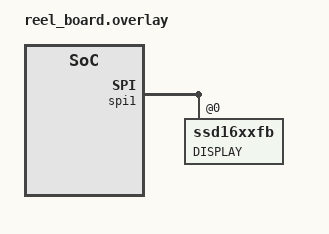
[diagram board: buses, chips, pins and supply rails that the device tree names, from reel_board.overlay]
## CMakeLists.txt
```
cmake_minimum_required(VERSION 3.8.2)
include($ENV{ZEPHYR_BASE}/cmake/app/boilerplate.cmake NO_POLICY_SCOPE)
project(vcd_mesh_badge_de)
FILE(GLOB app_sources src/*.c)
target_sources(app PRIVATE ${app_sources})
```

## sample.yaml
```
sample:
  description: reel board mesh badge sample
  name: vcd_mesh_badge_de
tests:
  test:
    platform_whitelist: reel_board
    tags: samples sensor
    harness: sensor
```

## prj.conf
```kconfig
CONFIG_SYSTEM_WORKQUEUE_STACK_SIZE=4096
CONFIG_BT_RX_STACK_SIZE=4096

CONFIG_BT=y
CONFIG_BT_CTLR=y

CONFIG_BT_DEVICE_NAME_DYNAMIC=y
CONFIG_BT_DEVICE_NAME_GATT_WRITABLE=y
CONFIG_BT_SMP=y
CONFIG_BT_PERIPHERAL=y
CONFIG_BT_PRIVACY=y
CONFIG_BT_DEVICE_NAME="reel-board"
CONFIG_BT_DEVICE_NAME_MAX=40
CONFIG_BT_ATT_ENFORCE_FLOW=n
CONFIG_LINKER_SORT_BY_ALIGNMENT=n

CONFIG_BT_DEBUG_LOG=y
CONFIG_BT_MESH_DEBUG=y
#CONFIG_BT_DEBUG_HCI_CORE=y
#CONFIG_BT_MESH_DEBUG_ADV=y

CONFIG_BT_OBSERVER=y
CONFIG_BT_BROADCASTER=y
CONFIG_BT_L2CAP_TX_BUF_COUNT=8

CONFIG_BT_MESH=y
CONFIG_BT_MESH_RELAY=y
#CONFIG_BT_MESH_GATT_PROXY=y
CONFIG_BT_MESH_PB_ADV=n
CONFIG_BT_MESH_PB_GATT=n
CONFIG_BT_MESH_ADV_BUF_COUNT=30
CONFIG_BT_MESH_LABEL_COUNT=0
CONFIG_BT_MESH_CFG_CLI=y
CONFIG_BT_MESH_TX_SEG_MAX=6
CONFIG_BT_MESH_TX_SEG_MSG_COUNT=3
CONFIG_BT_MESH_RX_SEG_MSG_COUNT=3
CONFIG_BT_MESH_CRPL=128
CONFIG_BT_MESH_RPL_STORE_TIMEOUT=120
CONFIG_BT_MESH_MSG_CACHE_SIZE=30

CONFIG_PRINTK=y
CONFIG_SERIAL=y
CONFIG_CONSOLE=y
CONFIG_STDOUT_CONSOLE=y
CONFIG_PWM=y
CONFIG_PWM_LOG_LEVEL_DBG=y

CONFIG_I2C=y
CONFIG_GPIO=y
CONFIG_SENSOR=y

CONFIG_APDS9960=y

CONFIG_TI_HDC=y

CONFIG_FXOS8700=y
CONFIG_FXOS8700_MODE_ACCEL=y
CONFIG_FXOS8700_TRIGGER_OWN_THREAD=y
CONFIG_FXOS8700_MOTION=y

CONFIG_SPI=y
CONFIG_SPI_ASYNC=y

CONFIG_HEAP_MEM_POOL_SIZE=16384
CONFIG_DISPLAY=y
CONFIG_SSD16XX=y

CONFIG_CHARACTER_FRAMEBUFFER=y

CONFIG_BT_SETTINGS=y
CONFIG_FLASH=y
CONFIG_FLASH_PAGE_LAYOUT=y
CONFIG_FLASH_MAP=y
CONFIG_NVS=y
CONFIG_SETTINGS=y

CONFIG_DISPLAY_LOG_LEVEL_ERR=n
CONFIG_LVGL=y
CONFIG_LVGL_OBJ_LABEL=y
CONFIG_LVGL_OBJ_IMAGE=y
CONFIG_LVGL_OBJ_CANVAS=y
CONFIG_LVGL_ANTIALIAS=y

CONFIG_LVGL_IMG_CACHE_DEF_SIZE=1

CONFIG_LVGL_BUILD_IN_FONT_ROBOTO_28=y
CONFIG_LVGL_BUILD_IN_FONT_ROBOTO_16=y

CONFIG_LVGL_COLOR_DEPTH_1=y
CONFIG_LVGL_BITS_PER_PIXEL=1
CONFIG_LVGL_HOR_RES=250
CONFIG_LVGL_VER_RES=122
CONFIG_LVGL_DPI=130
CONFIG_LVGL_VDB_SIZE=100
```

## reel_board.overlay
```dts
/*
 * Copyright (c) 2018 Phytec Messtechnik GmbH
 *
 * SPDX-License-Identifier: Apache-2.0
 */

&spi1 {
	ssd16xxfb@0 {
		label = "DISPLAY";
	};
};
```

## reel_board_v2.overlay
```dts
/*
 * Copyright (c) 2018 Phytec Messtechnik GmbH
 *
 * SPDX-License-Identifier: Apache-2.0
 */

&spi1 {
	ssd16xxfb@0 {
		label = "DISPLAY";
	};
};
```

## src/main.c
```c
/*
 * Copyright (c) 2018 Intel Corporation
 *
 * SPDX-License-Identifier: Apache-2.0
 *
 * Änderung: Deutsche Texte auf ePapier: JK LUG Noris 01/2019
 */

#include <zephyr.h>
#include <zephyr/types.h>
#include <sys/printk.h>
#include <device.h>

#include <string.h>
#include <stddef.h>
#include <sys/util.h>
#include <stdio.h>

#include <drivers/display.h>
#include <display/cfb.h>
#include <lvgl.h>
#include "qrcodegen.h"

#include <settings/settings.h>

#include <bluetooth/bluetooth.h>
#include <bluetooth/gatt.h>
#include <drivers/sensor.h>
#include <drivers/pwm.h>

#include "mesh.h"
#include "board.h"

static const struct bt_data ad[] = {
	BT_DATA_BYTES(BT_DATA_FLAGS, BT_LE_AD_NO_BREDR),
};

static ssize_t read_name(struct bt_conn *conn, const struct bt_gatt_attr *attr,
			 void *buf, u16_t len, u16_t offset)
{
	const char *value = bt_get_name();

	return bt_gatt_attr_read(conn, attr, buf, len, offset, value,
				 strlen(value));
}

static ssize_t write_name(struct bt_conn *conn, const struct bt_gatt_attr *attr,
			  const void *buf, u16_t len, u16_t offset,
			  u8_t flags)
{
	char name[CONFIG_BT_DEVICE_NAME_MAX];
	char buf1[CONFIG_BT_DEVICE_NAME_MAX];

	int Umlaut = 0xc3;
	int i1, t1, s1;  i1=0; t1=0; s1=0;

	int err;

	if (offset) {
		return BT_GATT_ERR(BT_ATT_ERR_INVALID_OFFSET);
	}

	if (len >= CONFIG_BT_DEVICE_NAME_MAX) {
		return BT_GATT_ERR(BT_ATT_ERR_INVALID_ATTRIBUTE_LEN);
	}

	memcpy(name, buf, len);
	name[len] = '\0';

	/* Umwandlung UTF-8 nach ASCII */
	strncpy(buf1, name, sizeof(buf1) - 1);
	buf1[sizeof(buf1) - 1] = '\0';
	for (i1 = 0; buf1[i1] != '\0'; i1++) {
		if (buf1[i1] == Umlaut) {
			buf1[i1] = buf1[i1 + 1] + 0x40;
			s1 = i1 + 1;
			/* Shift links um 1 Byte */
			for (t1 = s1; buf1[t1] != '\0'; t1++) {
				buf1[t1] = buf1[t1 + 1];
			}
		}
	}

	err = bt_set_name(buf1);

	if (err) {
		return BT_GATT_ERR(BT_ATT_ERR_INSUFFICIENT_RESOURCES);
	}

	board_refresh_display();

	return len;
}

/*
static struct bt_uuid_128 name_uuid = BT_UUID_INIT_128(
	0xf0, 0xde, 0xbc, 0x9a, 0x78, 0x56, 0x34, 0x12,
	0x78, 0x56, 0x34, 0x12, 0x78, 0x56, 0x34, 0x12);

static struct bt_uuid_128 name_enc_uuid = BT_UUID_INIT_128(
	0xf1, 0xde, 0xbc, 0x9a, 0x78, 0x56, 0x34, 0x12,
	0x78, 0x56, 0x34, 0x12, 0x78, 0x56, 0x34, 0x12);
*/

static struct bt_uuid_128 name_uuid = BT_UUID_INIT_128(
	BT_UUID_128_ENCODE(0x12345678, 0x1234, 0x5678, 0x1234, 0x56789abcdef0));

static struct bt_uuid_128 name_enc_uuid = BT_UUID_INIT_128(
	BT_UUID_128_ENCODE(0x12345678, 0x1234, 0x5678, 0x1234, 0x56789abcdef1));


#define CPF_FORMAT_UTF8 0x19

static const struct bt_gatt_cpf name_cpf = {
	.format = CPF_FORMAT_UTF8,
};

/* Vendor Primary Service Declaration */
BT_GATT_SERVICE_DEFINE(name_svc,
	/* Vendor Primary Service Declaration */
	BT_GATT_PRIMARY_SERVICE(&name_uuid),
	BT_GATT_CHARACTERISTIC(&name_enc_uuid.uuid,
			       BT_GATT_CHRC_READ | BT_GATT_CHRC_WRITE,
			       BT_GATT_PERM_READ | BT_GATT_PERM_WRITE_ENCRYPT,
			       read_name, write_name, NULL),
	BT_GATT_CUD("Badge Name", BT_GATT_PERM_READ),
	BT_GATT_CPF(&name_cpf),
);

static void passkey_display(struct bt_conn *conn, unsigned int passkey)
{
	char buf[20];

	snprintk(buf, sizeof(buf), "Passkey:\n%06u", passkey);

	printk("%s\n", buf);
	board_show_text(buf, false, K_FOREVER);
}

static void passkey_cancel(struct bt_conn *conn)
{
	printk("Abbruch\n");
}

static void pairing_complete(struct bt_conn *conn, bool bonded)
{
	printk("Pairing Komplett\n");

	sound_activ(1000);

	board_show_text("Pairing Komplett", false, K_SECONDS(2));
}

static void pairing_failed(struct bt_conn *conn, enum bt_security_err reason)
{
	printk("Pairing Fehler (%d)\n", reason);
	sound_activ(2000); sound_activ(2000);
	board_show_text("Pairing Fehler", false, K_SECONDS(2));
}

const struct bt_conn_auth_cb auth_cb = {
	.passkey_display = passkey_display,
	.cancel = passkey_cancel,
	.pairing_complete = pairing_complete,
	.pairing_failed = pairing_failed,
};

static void connected(struct bt_conn *conn, u8_t err)
{
	printk("Verbindung (err 0x%02x)\n", err);

	if (err) {
		sound_activ(2000); sound_activ(2000);
		board_show_text("Verbindungsfehler", false, K_SECONDS(2));
	} else {
		sound_activ(1000);
		board_show_text("Verbunden", false, K_FOREVER);
	}
}

static void disconnected(struct bt_conn *conn, u8_t reason)
{
	printk("Getrennt (Grund 0x%02x)\n", reason);

	if (strcmp(CONFIG_BT_DEVICE_NAME, bt_get_name()) &&
	    !mesh_is_initialized()) {
		/* Mesh will take over advertising control */
		bt_le_adv_stop();
		mesh_start();
	} else {
		board_show_text("Getrennt", false, K_SECONDS(2));
	}
}

static struct bt_conn_cb conn_cb = {
	.connected = connected,
	.disconnected = disconnected,
};

static void bt_ready(int err)
{
	if (err) {
		printk("Bluetooth Init Fehler (err %d)\n", err);
		return;
	}

	printk("Bluetooth initialisiert\n");


	err = mesh_init();
	if (err) {
		printk("Mesh Initialisierungsfehler (err %d)\n", err);
		return;
	}

	printk("Mesh initialisiert\n");

	bt_conn_cb_register(&conn_cb);
	bt_conn_auth_cb_register(&auth_cb);

	if (IS_ENABLED(CONFIG_SETTINGS)) {
		settings_load();
	}


	if (!mesh_is_initialized()) {
		/* Start advertising */
		err = bt_le_adv_start(BT_LE_ADV_CONN_NAME,
				      ad, ARRAY_SIZE(ad), NULL, 0);
		if (err) {
			printk("Advertising Startfehler (err %d)\n", err);
			return;
		}
	} else {
		printk("Ist schon aktiv\n");
	}

	board_refresh_display();

	printk("Board gestartet\n");
}

void main(void)
{
	int err;

	err = board_init();
	if (err) {
		printk("Board Init Fehler (err %d)\n", err);
		return;
	}

	printk("Start Board Demo\n");

	/* Initialize the Bluetooth Subsystem */
	err = bt_enable(bt_ready);
	if (err) {
		printk("Bluetooth Init Fehler (err %d)\n", err);
		return;
	}

	err = periphs_init();
	if (err) {
		printk("Perpherie Initialisierungsfehler (err %d)\n", err);
		return;
	}
}
```

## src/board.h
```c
/*
 * Copyright (c) 2018 Phytec Messtechnik GmbH
 * Copyright (c) 2018 Intel Corporation
 *
 * SPDX-License-Identifier: Apache-2.0
 */

enum led_periph_device {
	DEV_IDX_LED0 = 0,
	DEV_IDX_LED1,
	DEV_IDX_LED2,
};

enum periph_device {
	DEV_IDX_BUTTON = 0,
	DEV_IDX_HDC1010,
	DEV_IDX_MMA8652,
	DEV_IDX_APDS9960,
	DEV_IDX_EPD,
	DEV_IDX_NUMOF,
};

void board_refresh_display(void);
void board_show_text(const char *text, bool center, s32_t duration);
void board_blink_leds(void);
void board_add_hello(u16_t addr, const char *name);
void board_add_heartbeat(u16_t addr, u8_t hops);
void vcd_epaper(const char* vcdName, const char* vcdProf, const bool scr_new);
void vcd_epaper_tux(const char* vcdName, const bool scr_new);
void sound_activ();
int get_hdc1010_val(struct sensor_value *val);
int get_mma8652_val(struct sensor_value *val);
int get_apds9960_val(struct sensor_value *val);
int set_led_state(u8_t id, bool state);
int periphs_init(void);
int board_init(void);
```

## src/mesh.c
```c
/*
 * Copyright (c) 2018 Intel Corporation
 *
 * SPDX-License-Identifier: Apache-2.0
 *
 * Aenderung: Deutsche ePapier-Texte und Anzeige des eigenen Namens bei Betaetigen des User-Knopfes: JK LUG-Noris 01/2019
 */

#include <zephyr.h>
#include <string.h>
#include <sys/printk.h>

#include <bluetooth/bluetooth.h>
#include <bluetooth/mesh.h>
#include <bluetooth/hci.h>

#include <drivers/sensor.h>
//#include <display/cfb.h>
#include <stdio.h>

#include "mesh.h"
#include "board.h"

#define MOD_LF            0x0000
#define OP_HELLO          0xbb
#define OP_HEARTBEAT      0xbc
#define OP_BADUSER        0xbd
#define OP_VND_HELLO      BT_MESH_MODEL_OP_3(OP_HELLO, BT_COMP_ID_LF)
#define OP_VND_HEARTBEAT  BT_MESH_MODEL_OP_3(OP_HEARTBEAT, BT_COMP_ID_LF)
#define OP_VND_BADUSER    BT_MESH_MODEL_OP_3(OP_BADUSER, BT_COMP_ID_LF)

#define IV_INDEX          0
#define DEFAULT_TTL       31
#define GROUP_ADDR        0xc123
#define NET_IDX           0x000
#define APP_IDX           0x000
#define FLAGS             0

/* Maximum characters in "hello" message */
#define HELLO_MAX         8

#define MAX_SENS_STATUS_LEN 8

#define SENS_PROP_ID_TEMP_CELSIUS 0x2A1F
#define SENS_PROP_ID_UNIT_TEMP_CELSIUS 0x272F
#define SENS_PROP_ID_TEMP_CELSIUS_SIZE 2

enum {
	SENSOR_HDR_A = 0,
	SENSOR_HDR_B = 1,
};

struct sensor_hdr_a {
	u16_t prop_id:11;
	u16_t length:4;
	u16_t format:1;
} __packed;

struct sensor_hdr_b {
	u8_t length:7;
	u8_t format:1;
	u16_t prop_id;
} __packed;

static struct k_work hello_work;
static struct k_work baduser_work;
static struct k_work mesh_start_work;

char buf_local[CONFIG_BT_DEVICE_NAME_MAX];
int buf_len;


/* Definitions of models user data (Start) */
static struct led_onoff_state led_onoff_state[] = {
	{ .dev_id = DEV_IDX_LED0 },
};

static void heartbeat(u8_t hops, u16_t feat)
{
	board_show_text("Herzschlag empfangen", false, K_SECONDS(2));
}

static struct bt_mesh_cfg_srv cfg_srv = {
	.relay = BT_MESH_RELAY_ENABLED,
	.beacon = BT_MESH_BEACON_DISABLED,
	.default_ttl = DEFAULT_TTL,

	/* 3 transmissions with 20ms interval */
	.net_transmit = BT_MESH_TRANSMIT(2, 20),
	.relay_retransmit = BT_MESH_TRANSMIT(3, 20),

	.hb_sub.func = heartbeat,
};

static struct bt_mesh_cfg_cli cfg_cli = {
};

static void attention_on(struct bt_mesh_model *model)
{
	board_show_text("Achtung!", false, K_SECONDS(2));
}

static void attention_off(struct bt_mesh_model *model)
{
	board_refresh_display();
}

static const struct bt_mesh_health_srv_cb health_srv_cb = {
	.attn_on = attention_on,
	.attn_off = attention_off,
};

static struct bt_mesh_health_srv health_srv = {
	.cb = &health_srv_cb,
};

/* Generic OnOff Server message handlers */
static void gen_onoff_get(struct bt_mesh_model *model,
			  struct bt_mesh_msg_ctx *ctx,
			  struct net_buf_simple *buf)
{
	NET_BUF_SIMPLE_DEFINE(msg, 2 + 1 + 4);
	struct led_onoff_state *state = model->user_data;

	printk("addr 0x%04x onoff 0x%02x\n",
	       bt_mesh_model_elem(model)->addr, state->current);
	bt_mesh_model_msg_init(&msg, BT_MESH_MODEL_OP_GEN_ONOFF_STATUS);
	net_buf_simple_add_u8(&msg, state->current);

	if (bt_mesh_model_send(model, ctx, &msg, NULL, NULL)) {
		printk("Unable to send On Off Status response\n");
	}
}

static void gen_onoff_set_unack(struct bt_mesh_model *model,
				struct bt_mesh_msg_ctx *ctx,
				struct net_buf_simple *buf)
{
	struct net_buf_simple *msg = model->pub->msg;
	struct led_onoff_state *state = model->user_data;
	int err;
	u8_t tid, onoff;
	s64_t now;

	onoff = net_buf_simple_pull_u8(buf);
	tid = net_buf_simple_pull_u8(buf);

	if (onoff > STATE_ON) {
		printk("Wrong state received\n");

		return;
	}

	now = k_uptime_get();
	if (state->last_tid == tid && state->last_tx_addr == ctx->addr &&
	    (now - state->last_msg_timestamp <= K_SECONDS(6))) {
		printk("Already received message\n");
	}

	state->current = onoff;
	state->last_tid = tid;
	state->last_tx_addr = ctx->addr;
	state->last_msg_timestamp = now;

	printk("addr 0x%02x state 0x%02x\n",
	       bt_mesh_model_elem(model)->addr, state->current);

	/* Pin set low turns on LED's on the reel board */
	if (set_led_state(state->dev_id, onoff)) {
		printk("Failed to set led state\n");

		return;
	}

	/*
	 * If a server has a publish address, it is required to
	 * publish status on a state change
	 *
	 * See Mesh Profile Specification 3.7.6.1.2
	 *
	 * Only publish if there is an assigned address
	 */

	if (state->previous != state->current &&
	    model->pub->addr != BT_MESH_ADDR_UNASSIGNED) {
		printk("publish last 0x%02x cur 0x%02x\n",
		       state->previous, state->current);
		state->previous = state->current;
		bt_mesh_model_msg_init(msg,
				       BT_MESH_MODEL_OP_GEN_ONOFF_STATUS);
		net_buf_simple_add_u8(msg, state->current);
		err = bt_mesh_model_publish(model);
		if (err) {
			printk("bt_mesh_model_publish err %d\n", err);
		}
	}
}

static void gen_onoff_set(struct bt_mesh_model *model,
			  struct bt_mesh_msg_ctx *ctx,
			  struct net_buf_simple *buf)
{
	gen_onoff_set_unack(model, ctx, buf);
	gen_onoff_get(model, ctx, buf);
}

static void sensor_desc_get(struct bt_mesh_model *model,
			    struct bt_mesh_msg_ctx *ctx,
			    struct net_buf_simple *buf)
{
	/* TODO */
}

static void sens_temperature_celsius_fill(struct net_buf_simple *msg)
{
	struct sensor_hdr_b hdr;
	/* TODO Get only temperature from sensor */
	struct sensor_value val[2];
	s16_t temp_degrees;

	hdr.format = SENSOR_HDR_B;
	hdr.length = sizeof(temp_degrees);
	hdr.prop_id = SENS_PROP_ID_UNIT_TEMP_CELSIUS;

	get_hdc1010_val(val);
	temp_degrees = sensor_value_to_double(&val[0]) * 100;

	net_buf_simple_add_mem(msg, &hdr, sizeof(hdr));
	net_buf_simple_add_le16(msg, temp_degrees);
}

static void sens_unknown_fill(u16_t id, struct net_buf_simple *msg)
{
	struct sensor_hdr_a hdr;

	/*
	 * When the message is a response to a Sensor Get message that
	 * identifies a sensor property that does not exist on the element, the
	 * Length field shall represent the value of zero and the Raw Value for
	 * that property shall be omitted. (Mesh model spec 1.0, 4.2.14)
	 */
	hdr.format = SENSOR_HDR_A;
	hdr.length = 0U;
	hdr.prop_id = id;

	net_buf_simple_add_mem(msg, &hdr, sizeof(hdr));
}

static void sensor_create_status(u16_t id, struct net_buf_simple *msg)
{
	bt_mesh_model_msg_init(msg, BT_MESH_MODEL_OP_SENS_STATUS);

	switch (id) {
	case SENS_PROP_ID_TEMP_CELSIUS:
		sens_temperature_celsius_fill(msg);
		break;
	default:
		sens_unknown_fill(id, msg);
		break;
	}
}

static void sensor_get(struct bt_mesh_model *model,
		       struct bt_mesh_msg_ctx *ctx,
		       struct net_buf_simple *buf)
{
	NET_BUF_SIMPLE_DEFINE(msg, 1 + MAX_SENS_STATUS_LEN + 4);
	u16_t sensor_id;

	sensor_id = net_buf_simple_pull_le16(buf);
	sensor_create_status(sensor_id, &msg);

	if (bt_mesh_model_send(model, ctx, &msg, NULL, NULL)) {
		printk("Unable to send Sensor get status response\n");
	}
}

static void sensor_col_get(struct bt_mesh_model *model,
			   struct bt_mesh_msg_ctx *ctx,
			   struct net_buf_simple *buf)
{
	/* TODO */
}

static void sensor_series_get(struct bt_mesh_model *model,
			      struct bt_mesh_msg_ctx *ctx,
			      struct net_buf_simple *buf)
{
	/* TODO */
}

/* Definitions of models publication context (Start) */
BT_MESH_HEALTH_PUB_DEFINE(health_pub, 0);
BT_MESH_MODEL_PUB_DEFINE(gen_onoff_srv_pub_root, NULL, 2 + 3);

/* Mapping of message handlers for Generic OnOff Server (0x1000) */
static const struct bt_mesh_model_op gen_onoff_srv_op[] = {
	{ BT_MESH_MODEL_OP_GEN_ONOFF_GET, 0, gen_onoff_get },
	{ BT_MESH_MODEL_OP_GEN_ONOFF_SET, 2, gen_onoff_set },
	{ BT_MESH_MODEL_OP_GEN_ONOFF_SET_UNACK, 2, gen_onoff_set_unack },
	BT_MESH_MODEL_OP_END,
};

/* Mapping of message handlers for Sensor Server (0x1100) */
static const struct bt_mesh_model_op sensor_srv_op[] = {
	{ BT_MESH_MODEL_OP_SENS_DESC_GET, 0, sensor_desc_get },
	{ BT_MESH_MODEL_OP_SENS_GET, 0, sensor_get },
	{ BT_MESH_MODEL_OP_SENS_COL_GET, 2, sensor_col_get },
	{ BT_MESH_MODEL_OP_SENS_SERIES_GET, 2, sensor_series_get },
};

static struct bt_mesh_model root_models[] = {
	BT_MESH_MODEL_CFG_SRV(&cfg_srv),
	BT_MESH_MODEL_CFG_CLI(&cfg_cli),
	BT_MESH_MODEL_HEALTH_SRV(&health_srv, &health_pub),
	BT_MESH_MODEL(BT_MESH_MODEL_ID_GEN_ONOFF_SRV,
		      gen_onoff_srv_op, &gen_onoff_srv_pub_root,
		      &led_onoff_state[0]),
	BT_MESH_MODEL(BT_MESH_MODEL_ID_SENSOR_SRV,
		      sensor_srv_op, NULL, NULL),
};

static void vnd_hello(struct bt_mesh_model *model,
		      struct bt_mesh_msg_ctx *ctx,
		      struct net_buf_simple *buf)
{
	char str[32];
	size_t len;

	printk("Hello message from 0x%04x\n", ctx->addr);

	if (ctx->addr == bt_mesh_model_elem(model)->addr) {
		printk("Ignoring message from self\n");
		return;
	}

	len = MIN(buf->len, HELLO_MAX);
	memcpy(str, buf->data, len);
	str[len] = '\0';

	board_add_hello(ctx->addr, str);

	strcat(str, " sagt Hallo!");

	sound_activ(1000);

	board_show_text(str, false, K_SECONDS(2));

	board_blink_leds();
}

static void vnd_baduser(struct bt_mesh_model *model,
			struct bt_mesh_msg_ctx *ctx,
			struct net_buf_simple *buf)
{
	char str[32];
	size_t len;

	printk("\"Bad user\" message from 0x%04x\n", ctx->addr);

	if (ctx->addr == bt_mesh_model_elem(model)->addr) {
		printk("Ignoring message from self\n");
		return;
	}

	len = MIN(buf->len, HELLO_MAX);
	memcpy(str, buf->data, len);
	str[len] = '\0';

	board_add_hello(ctx->addr, str);

	strcat(str, " provoziert Fehlfunktion");
	board_show_text(str, false, K_SECONDS(3));

	board_blink_leds();
}

static void vnd_heartbeat(struct bt_mesh_model *model,
			  struct bt_mesh_msg_ctx *ctx,
			  struct net_buf_simple *buf)
{
	u8_t init_ttl, hops;

	/* Ignore messages from self */
	if (ctx->addr == bt_mesh_model_elem(model)->addr) {
		return;
	}

	init_ttl = net_buf_simple_pull_u8(buf);
	hops = init_ttl - ctx->recv_ttl + 1;

	printk("Heartbeat from 0x%04x over %u hop%s\n", ctx->addr,
	       hops, hops == 1U ? "" : "s");

	board_add_heartbeat(ctx->addr, hops);
}

static const struct bt_mesh_model_op vnd_ops[] = {
	{ OP_VND_HELLO, 1, vnd_hello },
	{ OP_VND_HEARTBEAT, 1, vnd_heartbeat },
	{ OP_VND_BADUSER, 1, vnd_baduser },
	BT_MESH_MODEL_OP_END,
};

static int pub_update(struct bt_mesh_model *mod)
{
	struct net_buf_simple *msg = mod->pub->msg;

	printk("Preparing to send heartbeat\n");

	bt_mesh_model_msg_init(msg, OP_VND_HEARTBEAT);
	net_buf_simple_add_u8(msg, DEFAULT_TTL);

	return 0;
}

BT_MESH_MODEL_PUB_DEFINE(vnd_pub, pub_update, 3 + 1);

static struct bt_mesh_model vnd_models[] = {
	BT_MESH_MODEL_VND(BT_COMP_ID_LF, MOD_LF, vnd_ops, &vnd_pub, NULL),
};

static struct bt_mesh_elem elements[] = {
	BT_MESH_ELEM(0, root_models, vnd_models),
};

static const struct bt_mesh_comp comp = {
	.cid = BT_COMP_ID_LF,
	.elem = elements,
	.elem_count = ARRAY_SIZE(elements),
};

static size_t first_name_len(const char *name)
{
	size_t len;

	for (len = 0; *name; name++, len++) {
		switch (*name) {
		case ' ':
		case ',':
		case '\n':
			return len;
		}
	}

	return len;
}

static void buf_shift_right(char *buf_local, int buf_len, int i, int Laufindex)
{
int t,y;
	y = 0;
	t = i;
	while ((buf_len+Laufindex+y-1) != t) {
		buf_local[buf_len+Laufindex+y] = buf_local[buf_len+Laufindex+y-1];
		y--;
	}
}

static void send_hello(struct k_work *work)
{
	NET_BUF_SIMPLE_DEFINE(msg, 3 + HELLO_MAX + 4);
	struct bt_mesh_msg_ctx ctx = {
		.net_idx = NET_IDX,
		.app_idx = APP_IDX,
		.addr = GROUP_ADDR,
		.send_ttl = DEFAULT_TTL,
	};

        char vname_local[CONFIG_BT_DEVICE_NAME_MAX-1]=" ";

	int i;

	strncpy(buf_local, bt_get_name(), sizeof(buf_local) - 1);
	buf_local[sizeof(buf_local) - 1] = '\0';
	buf_len = sizeof(buf_local);

	/* Ersetzung von Umlauten auf ae, ue, oe, ß etc. Original Display kennt keine Umlaute! */
	for (i = 0; buf_local[i] != ' '; i++) {

		int Laufindex = 1;

		switch (buf_local[i]) {
		case '\0':
			return;

		case 0xe4:  /* ä */
			buf_shift_right(buf_local, buf_len, i, Laufindex);
			buf_local[i] = 0x61; buf_local[i+1] = 0x65;
			Laufindex++;
			continue;

		case 0xfc:  /* ü */
			buf_shift_right(buf_local, buf_len, i, Laufindex);
			buf_local[i] = 0x75; buf_local[i+1] = 0x65;
			Laufindex++;
//			printf("Laufindex %d \n",Laufindex);
			continue;

		case 0xf6:  /* ö */
			buf_shift_right(buf_local, buf_len, i, Laufindex);
			buf_local[i] = 0x6f; buf_local[i+1] = 0x65;
			Laufindex++;
			continue;

		case 0xc4:  /* Ä */
			buf_shift_right(buf_local, buf_len, i, Laufindex);
			buf_local[i] = 0x41; buf_local[i+1] = 0x45;
			Laufindex++;
			continue;

		case 0xdc:  /* Ü */
			buf_shift_right(buf_local, buf_len, i, Laufindex);
			buf_local[i] = 0x55; buf_local[i+1] = 0x45;
			Laufindex++;
			continue;

		case 0xd6:  /* Ö */
			buf_shift_right(buf_local, buf_len, i, Laufindex);
			buf_local[i] = 0x4f; buf_local[i+1] = 0x45;
			Laufindex++;
			continue;

		case 0xdf:  /* ß */
			buf_shift_right(buf_local, buf_len, i, Laufindex);
			buf_local[i] = 0x73; buf_local[i+1] = 0x73;
			Laufindex++;
			continue;

		default:
			continue;
		}
        }

	/* sonstige nicht darstellbare Zeichen entfernen */
	for (i = 0; buf_local[i] != ' '; i++) {
		if ((buf_local[i] < 0x20) || (buf_local[i] >0x7a)) {
			buf_local[i] = ' ';
		}
        }
        /* buf_len an nun aktueller Länge anpassen */
        buf_len = i;

	bt_mesh_model_msg_init(&msg, OP_VND_HELLO);

	net_buf_simple_add_mem(&msg, buf_local,
			       MIN(HELLO_MAX, buf_len));
        strncpy(vname_local, buf_local, first_name_len(buf_local));

        strcat(vname_local, " sagt \"Hallo\" zu Jedem!");

	if (bt_mesh_model_send(&vnd_models[0], &ctx, &msg, NULL, NULL) == 0) {
		sound_activ(1000);
		board_show_text(vname_local, false, K_SECONDS(2));
	} else {
		sound_activ(2000); sound_activ(2000);
		board_show_text("Ueber- tragungs Fehler!", false, K_SECONDS(2));
	}

}

void mesh_send_hello(void)
{
	k_work_submit(&hello_work);
}

static void send_baduser(struct k_work *work)
{
	NET_BUF_SIMPLE_DEFINE(msg, 3 + HELLO_MAX + 4);
	struct bt_mesh_msg_ctx ctx = {
		.net_idx = NET_IDX,
		.app_idx = APP_IDX,
		.addr = GROUP_ADDR,
		.send_ttl = DEFAULT_TTL,
	};

	bt_mesh_model_msg_init(&msg, OP_VND_BADUSER);

	net_buf_simple_add_mem(&msg, buf_local,
			       MIN(HELLO_MAX, buf_len));
	if (bt_mesh_model_send(&vnd_models[0], &ctx, &msg, NULL, NULL) == 0) {
		board_show_text("Schlechter  Nutzer!", false, K_SECONDS(2));
	} else {
		board_show_text("Ueber- tragungs Fehler!", false, K_SECONDS(2));
	}
}

void mesh_send_baduser(void)
{
	k_work_submit(&baduser_work);
}

static int provision_and_configure(void)
{
	static const u8_t net_key[16] = {
		0xcc, 0xcc, 0xcc, 0xcc, 0xcc, 0xcc, 0xcc, 0xcc,
		0xcc, 0xcc, 0xcc, 0xcc, 0xcc, 0xcc, 0xcc, 0xcc,
	};
	static const u8_t app_key[16] = {
		0xaa, 0xaa, 0xaa, 0xaa, 0xaa, 0xaa, 0xaa, 0xaa,
		0xaa, 0xaa, 0xaa, 0xaa, 0xaa, 0xaa, 0xaa, 0xaa,
	};

	struct bt_mesh_cfg_mod_pub pub = {
		.addr = GROUP_ADDR,
		.app_idx = APP_IDX,
		.ttl = DEFAULT_TTL,
		.period = BT_MESH_PUB_PERIOD_SEC(10),
	};
	u8_t dev_key[16];
	u16_t addr;
	int err;

	err = bt_rand(dev_key, sizeof(dev_key));
	if (err) {
		return err;
	}

	do {
		err = bt_rand(&addr, sizeof(addr));
		if (err) {
			return err;
		}
	} while (!addr);

	/* Make sure it's a unicast address (highest bit unset) */
	addr &= ~0x8000;

	err = bt_mesh_provision(net_key, NET_IDX, FLAGS, IV_INDEX, addr,
				dev_key);
	if (err) {
		return err;
	}

	printk("Configuring...\n");

	/* Add Application Key */
	bt_mesh_cfg_app_key_add(NET_IDX, addr, NET_IDX, APP_IDX, app_key, NULL);

	/* Bind to vendor model */
	bt_mesh_cfg_mod_app_bind_vnd(NET_IDX, addr, addr, APP_IDX,
				     MOD_LF, BT_COMP_ID_LF, NULL);

	bt_mesh_cfg_mod_app_bind(NET_IDX, addr, addr, APP_IDX,
				 BT_MESH_MODEL_ID_GEN_ONOFF_SRV, NULL);

	bt_mesh_cfg_mod_app_bind(NET_IDX, addr, addr, APP_IDX,
				 BT_MESH_MODEL_ID_SENSOR_SRV, NULL);

	/* Bind to Health model */
	bt_mesh_cfg_mod_app_bind(NET_IDX, addr, addr, APP_IDX,
				 BT_MESH_MODEL_ID_HEALTH_SRV, NULL);

	/* Add model subscription */
	bt_mesh_cfg_mod_sub_add_vnd(NET_IDX, addr, addr, GROUP_ADDR,
				    MOD_LF, BT_COMP_ID_LF, NULL);

	bt_mesh_cfg_mod_pub_set_vnd(NET_IDX, addr, addr, MOD_LF, BT_COMP_ID_LF,
				    &pub, NULL);

	printk("Konfiguration komplett\n");

	return addr;
}

static void start_mesh(struct k_work *work)
{
	int err;

	err = provision_and_configure();
	if (err < 0) {
		board_show_text("Mesh Start Fehler", false,
				K_SECONDS(2));
	} else {
		char buf[32];

		snprintk(buf, sizeof(buf),
			 "Mesh gestartet\nAddr: 0x%04x", err);
		sound_activ(1000);
		board_show_text(buf, false, K_SECONDS(1));
	}
}

void mesh_start(void)
{
	k_work_submit(&mesh_start_work);
}

bool mesh_is_initialized(void)
{
	return elements[0].addr != BT_MESH_ADDR_UNASSIGNED;
}

u16_t mesh_get_addr(void)
{
	return elements[0].addr;
}

int mesh_init(void)
{
	static const u8_t dev_uuid[16] = { 0xc0, 0xff, 0xee };
	static const struct bt_mesh_prov prov = {
		.uuid = dev_uuid,
	};

	k_work_init(&hello_work, send_hello);
	k_work_init(&baduser_work, send_baduser);
	k_work_init(&mesh_start_work, start_mesh);

	return bt_mesh_init(&prov, &comp);
}
```

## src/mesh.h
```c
/*
 * Copyright (c) 2018 Intel Corporation
 *
 * SPDX-License-Identifier: Apache-2.0
 */

#define STATE_OFF	0x00
#define STATE_ON	0x01
#define STATE_DEFAULT	0x01
#define STATE_RESTORE	0x02

/* Model Operation Codes */
#define BT_MESH_MODEL_OP_GEN_ONOFF_GET		BT_MESH_MODEL_OP_2(0x82, 0x01)
#define BT_MESH_MODEL_OP_GEN_ONOFF_SET		BT_MESH_MODEL_OP_2(0x82, 0x02)
#define BT_MESH_MODEL_OP_GEN_ONOFF_SET_UNACK	BT_MESH_MODEL_OP_2(0x82, 0x03)
#define BT_MESH_MODEL_OP_GEN_ONOFF_STATUS	BT_MESH_MODEL_OP_2(0x82, 0x04)

#define BT_MESH_MODEL_OP_SENS_DESC_GET		BT_MESH_MODEL_OP_2(0x82, 0x30)
#define BT_MESH_MODEL_OP_SENS_GET		BT_MESH_MODEL_OP_2(0x82, 0x31)
#define BT_MESH_MODEL_OP_SENS_COL_GET		BT_MESH_MODEL_OP_2(0x82, 0x32)
#define BT_MESH_MODEL_OP_SENS_SERIES_GET	BT_MESH_MODEL_OP_2(0x82, 0x33)

#define BT_MESH_MODEL_OP_SENS_DESC_STATUS	BT_MESH_MODEL_OP_1(0x51)
#define BT_MESH_MODEL_OP_SENS_STATUS		BT_MESH_MODEL_OP_1(0x52)

struct led_onoff_state {
	u8_t current;
	u8_t previous;
	u8_t dev_id;

	u8_t last_tid;
	u16_t last_tx_addr;
	s64_t last_msg_timestamp;
};

void mesh_send_hello(void);
void mesh_send_baduser(void);

u16_t mesh_get_addr(void);
bool mesh_is_initialized(void);
void mesh_start(void);
int mesh_init(void);

int bt_mesh_suspend(void);
int bt_mesh_resume(void);
```

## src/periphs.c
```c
/*
 * Copyright (c) 2018 Intel Corporation
 *
 * SPDX-License-Identifier: Apache-2.0
 */

#include <zephyr.h>
#include <drivers/gpio.h>
#include <drivers/sensor.h>

#include <drivers/display.h>
#include <display/cfb.h>

#include "board.h"
#include "mesh.h"

#include <bluetooth/mesh.h>

struct device_info {
	struct device *dev;
	char *name;
};

struct led_device_info {
	struct device *dev;
	char *name;
	u32_t pin;
};

static struct led_device_info led_dev_info[] = {
	/* red front LED */
	{ NULL, DT_ALIAS_LED0_GPIOS_CONTROLLER, DT_ALIAS_LED0_GPIOS_PIN },
	/* green front LED */
	{ NULL, DT_ALIAS_LED1_GPIOS_CONTROLLER, DT_ALIAS_LED1_GPIOS_PIN },
	/* blue front LED */
	{ NULL, DT_ALIAS_LED2_GPIOS_CONTROLLER, DT_ALIAS_LED2_GPIOS_PIN },
};

static struct device_info dev_info[] = {
	{ NULL, DT_ALIAS_SW0_GPIOS_CONTROLLER },
	{ NULL, DT_INST_0_TI_HDC1010_LABEL },
	{ NULL, DT_INST_0_NXP_MMA8652FC_LABEL },
	{ NULL, DT_INST_0_AVAGO_APDS9960_LABEL },
	{ NULL, DT_INST_0_SOLOMON_SSD16XXFB_LABEL },
};

static void configure_gpios(void)
{
	gpio_pin_configure(led_dev_info[DEV_IDX_LED0].dev,
			   led_dev_info[DEV_IDX_LED0].pin, GPIO_DIR_OUT);
	gpio_pin_write(led_dev_info[DEV_IDX_LED0].dev,
		       led_dev_info[DEV_IDX_LED0].pin, 1);

	gpio_pin_configure(led_dev_info[DEV_IDX_LED1].dev,
			   led_dev_info[DEV_IDX_LED1].pin, GPIO_DIR_OUT);
	gpio_pin_write(led_dev_info[DEV_IDX_LED1].dev,
		       led_dev_info[DEV_IDX_LED1].pin, 1);

	gpio_pin_configure(led_dev_info[DEV_IDX_LED2].dev,
			   led_dev_info[DEV_IDX_LED2].pin, GPIO_DIR_OUT);
	gpio_pin_write(led_dev_info[DEV_IDX_LED2].dev,
		       led_dev_info[DEV_IDX_LED2].pin, 1);
}

int set_led_state(u8_t id, bool state)
{
	/* Invert state because of active low state for GPIO LED pins */
	return gpio_pin_write(led_dev_info[id].dev, led_dev_info[id].pin,
			      !state);
}

int get_hdc1010_val(struct sensor_value *val)
{
	if (sensor_sample_fetch(dev_info[DEV_IDX_HDC1010].dev)) {
		printk("Failed to fetch sample for device %s\n",
		       dev_info[DEV_IDX_HDC1010].name);
		return -1;
	}

	if (sensor_channel_get(dev_info[DEV_IDX_HDC1010].dev,
			       SENSOR_CHAN_AMBIENT_TEMP, &val[0])) {
		return -1;
	}

	if (sensor_channel_get(dev_info[DEV_IDX_HDC1010].dev,
			       SENSOR_CHAN_HUMIDITY, &val[1])) {
		return -1;
	}

	return 0;
}

int get_mma8652_val(struct sensor_value *val)
{
	if (sensor_sample_fetch(dev_info[DEV_IDX_MMA8652].dev)) {
		printk("Failed to fetch sample for device %s\n",
		       dev_info[DEV_IDX_MMA8652].name);
		return -1;
	}

	if (sensor_channel_get(dev_info[DEV_IDX_MMA8652].dev,
			       SENSOR_CHAN_ACCEL_XYZ, &val[0])) {
		return -1;
	}

	return 0;
}

int get_apds9960_val(struct sensor_value *val)
{
	if (sensor_sample_fetch(dev_info[DEV_IDX_APDS9960].dev)) {
		printk("Failed to fetch sample for device %s\n",
		       dev_info[DEV_IDX_APDS9960].name);
		return -1;
	}

	if (sensor_channel_get(dev_info[DEV_IDX_APDS9960].dev,
			       SENSOR_CHAN_LIGHT, &val[0])) {
		return -1;
	}

	if (sensor_channel_get(dev_info[DEV_IDX_APDS9960].dev,
			       SENSOR_CHAN_PROX, &val[1])) {
		return -1;
	}

	return 0;
}

#define MOTION_TIMEOUT K_MINUTES(10)

static struct k_delayed_work motion_work;

static void motion_timeout(struct k_work *work)
{
	int err;

	printk("power save\n");

	if (!mesh_is_initialized()) {
		k_delayed_work_submit(&motion_work, MOTION_TIMEOUT);
		return;
	}

	err = bt_mesh_suspend();
	if (err && err != -EALREADY) {
		printk("failed to suspend mesh (err %d)\n", err);
	}
}

static void motion_handler(struct device *dev, struct sensor_trigger *trig)
{
	int err;

	printk("motion!\n");

	if (!mesh_is_initialized()) {
		return;
	}

	err = bt_mesh_resume();
	if (err && err != -EALREADY) {
		printk("failed to resume mesh (err %d)\n", err);
	}

	k_delayed_work_submit(&motion_work, MOTION_TIMEOUT);
}

static void configure_accel(void)
{
	struct device_info *accel = &dev_info[DEV_IDX_MMA8652];
	struct sensor_trigger trig_motion = {
		.type = SENSOR_TRIG_DELTA,
		.chan = SENSOR_CHAN_ACCEL_XYZ,
	};
	int err;

	err = sensor_trigger_set(accel->dev, &trig_motion, motion_handler);
	if (err) {
		printk("setting motion trigger failed, err %d\n", err);
		return;
	}

	k_delayed_work_init(&motion_work, motion_timeout);
	k_delayed_work_submit(&motion_work, MOTION_TIMEOUT);
}

int periphs_init(void)
{
	unsigned int i;

	/* Bind sensors */
	for (i = 0U; i < ARRAY_SIZE(dev_info); i++) {
		dev_info[i].dev = device_get_binding(dev_info[i].name);
		if (dev_info[i].dev == NULL) {
			printk("Failed to get %s device\n", dev_info[i].name);
			return -EBUSY;
		}
	}

	/* Bind leds */
	for (i = 0U; i < ARRAY_SIZE(led_dev_info); i++) {
		led_dev_info[i].dev = device_get_binding(led_dev_info[i].name);
		if (led_dev_info[i].dev == NULL) {
			printk("Failed to get %s led device\n",
			       led_dev_info[i].name);
			return -EBUSY;
		}
	}

	configure_gpios();

	configure_accel();

	return 0;
}
```

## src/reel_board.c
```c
/*
 * Copyright (c) 2018 Phytec Messtechnik GmbH
 * Copyright (c) 2018 Intel Corporation
 *
 * SPDX-License-Identifier: Apache-2.0
 *
 * Aenderung: Deutsche Texte auf ePapier: JK LUG-Noris 01/2019
 */

#include <zephyr.h>
#include <device.h>
#include <drivers/gpio.h>
#include <display/cfb.h>
#include <sys/printk.h>
#include <drivers/flash.h>
#include <drivers/sensor.h>
#include <drivers/pwm.h>

#include <zephyr/types.h>

#include <stddef.h>
#include <sys/util.h>

#include <drivers/display.h>
#include <lvgl.h>
#include "qrcodegen.h"

#include <string.h>
#include <stdio.h>

#include <bluetooth/bluetooth.h>
#include <bluetooth/mesh/access.h>

#include "mesh.h"
#include "board.h"

// ##############################################################################################
// Für Board 1507.1 "#define beeper" auskommentieren (PWM), PWM-LED leuchtet dauerhaft!  31.12.21
// #define beeper
// ##############################################################################################

#if defined(DT_ALIAS_PWM_LED0_PWMS_CONTROLLER) && defined(DT_ALIAS_PWM_LED0_PWMS_CHANNEL)
/* get the defines from dt (based on alias 'pwm-led0') */
#define PWM_DRIVER	DT_ALIAS_PWM_LED0_PWMS_CONTROLLER
#define PWM_CHANNEL	DT_ALIAS_PWM_LED0_PWMS_CHANNEL
#else
#error "Choose supported PWM driver"
#endif

// #define PWM_POLARITY_INVERTED

enum font_size {
	FONT_BIG = 2,
	FONT_MEDIUM = 1,
	FONT_SMALL = 0,
};

enum screen_ids {
	SCREEN_TUX = 0,
	SCREEN_VCD = 1,
	SCREEN_SENSORS = 2,
	SCREEN_STATS = 3,
	SCREEN_LUGTEXT = 4,
	SCREEN_LAST,
};

struct font_info {
	u8_t columns;
} fonts[] = {
	[FONT_BIG] =    { .columns = 12 },
	[FONT_MEDIUM] = { .columns = 16 },
	[FONT_SMALL] =  { .columns = 25 },
};

static struct device *pwm_dev;

#define LONG_PRESS_TIMEOUT K_SECONDS(1)

#define STAT_COUNT 128

#define EDGE (GPIO_INT_EDGE | GPIO_INT_DOUBLE_EDGE)

#ifdef DT_ALIAS_SW0_GPIOS_FLAGS
#define PULL_UP DT_ALIAS_SW0_GPIOS_FLAGS
#else
#define PULL_UP 0
#endif

static struct device *epd_dev;
static struct device *display;
static bool pressed;
static bool stat_on = false;
static u8_t screen_id = SCREEN_TUX;
static struct device *gpio;
static struct k_delayed_work epd_work;
static struct k_delayed_work long_press_work;
static char str_buf[256];
static bool vcd_renew = true;
static bool tux_renew  = true;
static u8_t screen_id_neu = 0;
static u8_t screen_id_alt = 0;

static char vcd_name[20]="";
static char vname[20]="";
static char vcd_prof[CONFIG_BT_DEVICE_NAME_MAX]="";
static char buf2[CONFIG_BT_DEVICE_NAME_MAX]="";

static struct {
	struct device *dev;
	const char *name;
	u32_t pin;
} leds[] = {
	{ .name = DT_ALIAS_LED0_GPIOS_CONTROLLER, .pin = DT_ALIAS_LED0_GPIOS_PIN, },
	{ .name = DT_ALIAS_LED1_GPIOS_CONTROLLER, .pin = DT_ALIAS_LED1_GPIOS_PIN, },
	{ .name = DT_ALIAS_LED2_GPIOS_CONTROLLER, .pin = DT_ALIAS_LED2_GPIOS_PIN, },
};

struct k_delayed_work led_timer;

static size_t print_line(enum font_size font_size, int row, const char *text,
			 size_t len, bool center)
{
	u8_t font_height, font_width;
	u8_t line[fonts[FONT_SMALL].columns + 1];
	int pad;

	cfb_framebuffer_set_font(epd_dev, font_size);

	len = MIN(len, fonts[font_size].columns);
	memcpy(line, text, len);
	line[len] = '\0';

	if (center) {
		pad = (fonts[font_size].columns - len) / 2U;
	} else {
		pad = 0;
	}

	cfb_get_font_size(epd_dev, font_size, &font_width, &font_height);

	if (cfb_print(epd_dev, line, font_width * pad, font_height * row)) {
		printk("Failed to print a string\n");
	}

	return len;
}

static size_t get_len(enum font_size font, const char *text)
{
	const char *space = NULL;
	size_t i;

	for (i = 0; i <= fonts[font].columns; i++) {
		switch (text[i]) {
		case '\n':
		case '\0':
			return i;
		case ' ':
			space = &text[i];
			break;
		default:
			continue;
		}
	}

	/* If we got more characters than fits a line, and a space was
	 * encountered, fall back to the last space.
	 */
	if (space) {
		return space - text;
	}

	return fonts[font].columns;
}

void sound_activ(u32_t period)
{
#ifdef beeper

/* Hinweis: Für Zephyr 2.1 rc1 ist der letzte Parameter (hier die 0) bei pwm_pin_set_usec wegzulassen */

/* Sound ein , aktiv nur für 1507.3, bei 1507.1 leuchtet die PWM-LED auf Dauer !!! */
if (pwm_pin_set_usec(pwm_dev, PWM_CHANNEL,
		period, period / 2U, 0)) {   // Parameter 0 für normal; 1 für invertiert
		printk("pwm pin set fails\n");
		return;
		}
k_sleep(K_MSEC(150));  // Verzögerung um 0.15 sec

/* Sound aus */
pwm_pin_set_usec(pwm_dev, PWM_CHANNEL, 0, 0, 0);
k_sleep(K_MSEC(100));  // Warten/Verzögerung um 0.1 sec
#else
printk("PWM (Beeper) nicht aktiv!\n");
#endif
}

void board_blink_leds(void)
{
	k_delayed_work_submit(&led_timer, K_MSEC(100));
}

void name_select(void)
{
	/* Auftrennung BLE-Puffer in Vorname, Nachname, Profession */
	int i, t, s;  s = 0;

	strncpy(buf2, bt_get_name(), sizeof(buf2) - 1);
	buf2[sizeof(buf2) - 1] = '\0';

	/* Weist Vornamen+Nachnamen vc_name zu */
	for (i = 0; buf2[i] != ','; i++) {
		if (i < 21) {		// Max. Länge Vorname+Nachname 20 Zeichen
			vcd_name[i] = buf2[i];
			s= i + 1;
		}
	}

	/* Weist Profession vcd_prof zu */
	for (t = s + 1; buf2[t] != '\0'; t++) {
		vcd_prof[t-s-1] = buf2[t];
	}

	/* Weist Vornamen alleine vname zu */
	for (i = 0; buf2[i] != ' '; i++) {
		if (i < 21) {		// Max. Länge Vorname 20 Zeichen
			vname[i] = buf2[i];
//			printk("i=  %d\n",i);
		}
	vname[i+1] = '\0';
	}
}

void board_show_text(const char *text, bool center, s32_t duration)
{
	int i;

	cfb_framebuffer_clear(epd_dev, false);

	for (i = 0; i < 3; i++) {
		size_t len;

		while (*text == ' ' || *text == '\n') {
			text++;
		}

		len = get_len(FONT_BIG, text);
		if (!len) {
			break;
		}

		text += print_line(FONT_BIG, i, text, len, center);
		if (!*text) {
			break;
		}
	}

	cfb_framebuffer_finalize(epd_dev);

	if (duration != K_FOREVER) {
		k_delayed_work_submit(&epd_work, duration);
	}
}

static struct stat {
	u16_t addr;
	char name[9];
	u8_t min_hops;
	u8_t max_hops;
	u16_t hello_count;
	u16_t heartbeat_count;
} stats[STAT_COUNT] = {
	[0 ... (STAT_COUNT - 1)] = {
		.min_hops = BT_MESH_TTL_MAX,
		.max_hops = 0,
	},
};

static u32_t stat_count;

#define NO_UPDATE -1

static int add_hello(u16_t addr, const char *name)
{
	int i;

	for (i = 0; i < ARRAY_SIZE(stats); i++) {
		struct stat *stat = &stats[i];

		if (!stat->addr) {
			stat->addr = addr;
			strncpy(stat->name, name, sizeof(stat->name) - 1);
			stat->hello_count = 1U;
			stat_count++;
			return i;
		}

		if (stat->addr == addr) {
			/* Update name, incase it has changed */
			strncpy(stat->name, name, sizeof(stat->name) - 1);

			if (stat->hello_count < 0xffff) {
				stat->hello_count++;
				return i;
			}

			return NO_UPDATE;
		}
	}

	return NO_UPDATE;
}

static int add_heartbeat(u16_t addr, u8_t hops)
{
	int i;

	for (i = 0; i < ARRAY_SIZE(stats); i++) {
		struct stat *stat = &stats[i];

		if (!stat->addr) {
			stat->addr = addr;
			stat->heartbeat_count = 1U;
			stat->min_hops = hops;
			stat->max_hops = hops;
			stat_count++;
			return i;
		}

		if (stat->addr == addr) {
			if (hops < stat->min_hops) {
				stat->min_hops = hops;
			} else if (hops > stat->max_hops) {
				stat->max_hops = hops;
			}

			if (stat->heartbeat_count < 0xffff) {
				stat->heartbeat_count++;
				return i;
			}

			return NO_UPDATE;
		}
	}

	return NO_UPDATE;
}

void board_add_hello(u16_t addr, const char *name)
{
	u32_t sort_i;

	sort_i = add_hello(addr, name);
	if (sort_i != NO_UPDATE) {
	}
}

void board_add_heartbeat(u16_t addr, u8_t hops)
{
	u32_t sort_i;

	sort_i = add_heartbeat(addr, hops);
	if (sort_i != NO_UPDATE) {
	}
}

static void show_lugtext(void)
{
	int len, line = 0;
	char str[32];

	cfb_framebuffer_clear(epd_dev, false);

	len = snprintk(str, sizeof(str),
		       "Die LUG Nbg trifft sich:");
	print_line(FONT_SMALL, line++, str, len, false);

	len = snprintk(str, sizeof(str),
		       "========================");
	print_line(FONT_SMALL, line++, str, len, false);

	len = snprintk(str, sizeof(str),
		       "1.und 3.Donnerstag:");
	print_line(FONT_SMALL, line++, str, len, false);

	len = snprintk(str, sizeof(str),
		       "  =>  Beim Theo");
	print_line(FONT_SMALL, line++, str, len, false);

	len = snprintk(str, sizeof(str),
		       "2.und 4.Donnerstag:");
	print_line(FONT_SMALL, line++, str, len, false);

	len = snprintk(str, sizeof(str),
		       "  =>  Virtuell mit Jitsi");
	print_line(FONT_SMALL, line++, str, len, false);

	len = snprintk(str, sizeof(str),
		       "Infos: www.lug-noris.de");
	print_line(FONT_SMALL, line++, str, len, false);

	cfb_framebuffer_finalize(epd_dev);
}

static void show_statistics(void)
{
	int top[4] = { -1, -1, -1, -1 };
	int len, i, line = 0;
	struct stat *stat;
	char str[32];

	cfb_framebuffer_clear(epd_dev, false);

	len = snprintk(str, sizeof(str),
		       "Eigene Adresse: 0x%04x", mesh_get_addr());
	print_line(FONT_SMALL, line++, str, len, false);

	len = snprintk(str, sizeof(str),
		       "Knotenzaehler : %u", stat_count + 1);
	print_line(FONT_SMALL, line++, str, len, false);

	/* Find the top sender */
	for (i = 0; i < ARRAY_SIZE(stats); i++) {
		int j;

		stat = &stats[i];
		if (!stat->addr) {
			break;
		}

		if (!stat->hello_count) {
			continue;
		}

		for (j = 0; j < ARRAY_SIZE(top); j++) {
			if (top[j] < 0) {
				top[j] = i;
				break;
			}

			if (stat->hello_count <= stats[top[j]].hello_count) {
				continue;
			}

			/* Move other elements down the list */
			if (j < ARRAY_SIZE(top) - 1) {
				memmove(&top[j + 1], &top[j],
					((ARRAY_SIZE(top) - j - 1) *
					 sizeof(top[j])));
			}

			top[j] = i;
			break;
		}
	}

	if (stat_count > 0) {
		len = snprintk(str, sizeof(str), "Meiste Nachrichten:");
		print_line(FONT_SMALL, line++, str, len, false);

		for (i = 0; i < ARRAY_SIZE(top); i++) {
			if (top[i] < 0) {
				break;
			}

			stat = &stats[top[i]];

			len = snprintk(str, sizeof(str), "%-3u 0x%04x %s",
				       stat->hello_count, stat->addr,
				       stat->name);
			print_line(FONT_SMALL, line++, str, len, false);
		}
	}

	cfb_framebuffer_finalize(epd_dev);
}

static void show_sensors_data(s32_t interval)
{
	struct sensor_value val[3];
	u8_t line = 0U;
	u16_t len = 0U;

	cfb_framebuffer_clear(epd_dev, false);

	/* hdc1010 */
	if (get_hdc1010_val(val)) {
		goto _error_get;
	}

	len = snprintf(str_buf, sizeof(str_buf), "Temperatur    :  %d.%d C\n",
		       val[0].val1, val[0].val2 / 100000);
	print_line(FONT_SMALL, line++, str_buf, len, false);

	len = snprintf(str_buf, sizeof(str_buf), "Feuchtigkeit  :  %d%%\n",
		       val[1].val1);
	print_line(FONT_SMALL, line++, str_buf, len, false);

	/* mma8652 */
	if (get_mma8652_val(val)) {
		goto _error_get;
	}

	len = snprintf(str_buf, sizeof(str_buf), "B-Sensor - AX :%7.3f\n",
		       sensor_value_to_double(&val[0]));
	print_line(FONT_SMALL, line++, str_buf, len, false);

	len = snprintf(str_buf, sizeof(str_buf), "         - AY :%7.3f\n",
		       sensor_value_to_double(&val[1]));
	print_line(FONT_SMALL, line++, str_buf, len, false);

	len = snprintf(str_buf, sizeof(str_buf), "         - AZ :%7.3f\n",
		       sensor_value_to_double(&val[2]));
	print_line(FONT_SMALL, line++, str_buf, len, false);

	/* apds9960 */
	if (get_apds9960_val(val)) {
		goto _error_get;
	}

	len = snprintf(str_buf, sizeof(str_buf), "Lichtstaerke  :  %d\n", val[0].val1);
	print_line(FONT_SMALL, line++, str_buf, len, false);
	len = snprintf(str_buf, sizeof(str_buf), "Abstand       :  %d\n", val[1].val1);
	print_line(FONT_SMALL, line++, str_buf, len, false);

	cfb_framebuffer_finalize(epd_dev);

	k_delayed_work_submit(&epd_work, interval);

	return;

_error_get:
	printk("Failed to get sensor data or print a string\n");
}

static void show_vcd(void)
{
	cfb_framebuffer_clear(epd_dev, false);

 	/* Aufruf über LVGL (Grafikmode), vcd_renew nur beim Start auf true: */
	vcd_epaper(vcd_name, vcd_prof, vcd_renew);

	/* Handshake zwischen den beiden Modulen screen_vcd und screen_tux */
	tux_renew  = true;

	/* Wenn im Bluetooth-Mode, Display immer direkt beschreiben */
	if (!mesh_is_initialized()) {
		vcd_renew = true;
	} else {
		vcd_renew = false;
	}
}

static void show_tux(void)
{
	cfb_framebuffer_clear(epd_dev, false);

 	/* Aufruf über LVGL (Grafikmode), tux_renew nur beim Start auf true: */
	vcd_epaper_tux(vname, tux_renew);

	/* Handshake zwischen den beiden Modulen screen_vcd und screen_tux */
	vcd_renew = true;

	/* Wenn im Bluetooth-Mode, Display immer direkt beschreiben */
	if (!mesh_is_initialized()) {
		tux_renew = true;
	} else {
		tux_renew = false;
	}
}

static bool button_is_pressed(void)
{
	u32_t val;

	gpio_pin_read(gpio, DT_ALIAS_SW0_GPIOS_PIN, &val);

	return !val;
}

static void epd_update(struct k_work *work)
{
	switch (screen_id) {
	case SCREEN_LUGTEXT:
		show_lugtext();
		return;
	case SCREEN_STATS:
		show_statistics();
		return;
	case SCREEN_SENSORS:
		show_sensors_data(K_SECONDS(2));
		return;
	case SCREEN_VCD:
		name_select();
		show_vcd();
		return;
	case SCREEN_TUX:
		name_select();
		show_tux();
		return;
	}
}

static void long_press(struct k_work *work)
{
	/* Treat as release so actual release doesn't send messages */
	pressed = false;
	screen_id = (screen_id + 1) % SCREEN_LAST;
	printk("Change screen to id = %d\n", screen_id);
	board_refresh_display();
}

static void button_interrupt(struct device *dev, struct gpio_callback *cb,
			     u32_t pins)
{
	u32_t uptime2  = k_uptime_get_32();

	if (button_is_pressed() == pressed) {
		return;
	}

	pressed = !pressed;
	printk("Button %s\n", pressed ? "pressed" : "released");

	if (pressed) {
		k_delayed_work_submit(&long_press_work, LONG_PRESS_TIMEOUT);
		return;
	}

	k_delayed_work_cancel(&long_press_work);

	if (!mesh_is_initialized()) {
		return;
	}

	/* Short press for views */
	switch (screen_id) {
	case SCREEN_SENSORS:
	case SCREEN_STATS:
		stat_on = true;
		return;
	case SCREEN_TUX:
	case SCREEN_VCD:
		if (pins & BIT(DT_ALIAS_SW0_GPIOS_PIN)) {
			u32_t uptime = k_uptime_get_32();
			static u32_t bad_count, press_ts, t_on;

			screen_id_neu = screen_id;

			if (uptime - press_ts < 500) {
				bad_count++;
			} else {
				bad_count = 0U;
			}

			if (bad_count) {
				if (bad_count > 5) {
					mesh_send_baduser();
					bad_count = 0U;
				} else {
					printk("Ignoring press\n");
				}
			} else {
				if (!pressed) {
					if ((screen_id_neu-screen_id_alt) == 0) {
						t_on = uptime - uptime2;
//						printk("Delta Zeit: (t_on  %d)\n", t_on);
						if ((t_on > 0U) && (t_on < 10U)) {
							if (!stat_on) {
								mesh_send_hello();
							} else {
								stat_on = false;
							}
						}
					}
				}
			}
			screen_id_alt = screen_id_neu;
			press_ts = uptime;
		}
		uptime2 = k_uptime_get_32();
		return;
	default:
		return;
	}
}

static int configure_button(void)
{
	static struct gpio_callback button_cb;

	gpio = device_get_binding(DT_ALIAS_SW0_GPIOS_CONTROLLER);
	if (!gpio) {
		return -ENODEV;
	}

	gpio_pin_configure(gpio, DT_ALIAS_SW0_GPIOS_PIN,
			   (GPIO_DIR_IN | GPIO_INT |  PULL_UP | EDGE));

	gpio_init_callback(&button_cb, button_interrupt, BIT(DT_ALIAS_SW0_GPIOS_PIN));
	gpio_add_callback(gpio, &button_cb);

	gpio_pin_enable_callback(gpio, DT_ALIAS_SW0_GPIOS_PIN);

	return 0;
}

static void led_timeout(struct k_work *work)
{
	static int led_cntr;
	int i;

	/* Disable all LEDs */
	for (i = 0; i < ARRAY_SIZE(leds); i++) {
		gpio_pin_write(leds[i].dev, leds[i].pin, 1);
	}

	/* Stop after 5 iterations */
	if (led_cntr >= (ARRAY_SIZE(leds) * 5)) {
		led_cntr = 0;
		return;
	}

	/* Select and enable current LED */
	i = led_cntr++ % ARRAY_SIZE(leds);
	gpio_pin_write(leds[i].dev, leds[i].pin, 0);

	k_delayed_work_submit(&led_timer, K_MSEC(100));
}

static int configure_leds(void)
{
	int i;

	for (i = 0; i < ARRAY_SIZE(leds); i++) {
		leds[i].dev = device_get_binding(leds[i].name);
		if (!leds[i].dev) {
			printk("Failed to get %s device\n", leds[i].name);
			return -ENODEV;
		}

		gpio_pin_configure(leds[i].dev, leds[i].pin, GPIO_DIR_OUT);
		gpio_pin_write(leds[i].dev, leds[i].pin, 1);

	}

	k_delayed_work_init(&led_timer, led_timeout);
	return 0;
}

static int erase_storage(void)
{
	struct device *dev;

	dev = device_get_binding(DT_FLASH_DEV_NAME);

	flash_write_protection_set(dev, false);

	return flash_erase(dev, DT_FLASH_AREA_STORAGE_OFFSET,
			   DT_FLASH_AREA_STORAGE_SIZE);
}

void board_refresh_display(void)
{
	k_delayed_work_submit(&epd_work, K_NO_WAIT);
}

int board_init(void)
{
	epd_dev = device_get_binding(DT_INST_0_SOLOMON_SSD16XXFB_LABEL);
	if (epd_dev == NULL) {
		printk("SSD16XX device not found\n");
		return -ENODEV;
	}

	pwm_dev = device_get_binding(PWM_DRIVER);
	if (pwm_dev == NULL) {
		printk("Cannot find %s!\n", PWM_DRIVER);
		return -EIO;
	}


	display=device_get_binding(CONFIG_LVGL_DISPLAY_DEV_NAME);
	if (display == NULL) {
		printk("LVGL Display not ok\n");
		return -ENODEV;
	}

	if (cfb_framebuffer_init(epd_dev)) {
		printk("Framebuffer initialization failed\n");
		return -EIO;
	}

	cfb_framebuffer_clear(epd_dev, true);

	if (configure_button()) {
		printk("Failed to configure button\n");
		return -EIO;
	}

	if (configure_leds()) {
		printk("LED init failed\n");
		return -EIO;
	}

	k_delayed_work_init(&epd_work, epd_update);
	k_delayed_work_init(&long_press_work, long_press);

	pressed = button_is_pressed();
	if (pressed) {
		printk("Erasing storage\n");
		board_show_text("Geraet Ruecksetzen", false, K_SECONDS(4));
		erase_storage();
	}

	return 0;
}
```
